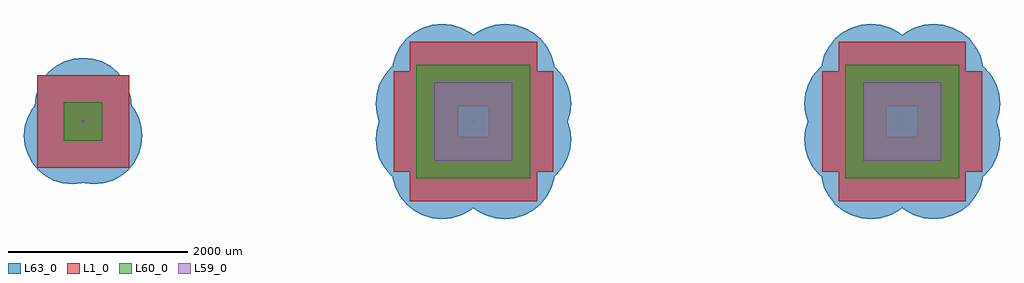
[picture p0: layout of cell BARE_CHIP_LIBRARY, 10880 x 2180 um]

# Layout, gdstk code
import gdstk
lib = gdstk.Library(unit=1e-6, precision=1e-09)
def R(c, l, rs):  # rectangles x0, y0, x1, y1
    for r in rs: c.add(gdstk.rectangle(r[:2], r[2:], *l))
def P(c, l, *ps):  # polygons
    for p in ps: c.add(gdstk.Polygon(p, *l))
L1_0 = (1, 0)
L59_0 = (59, 0)
L60_0 = (60, 0)
L63_0 = (63, 0)

die_2n2222 = lib.new_cell('DIE_2N2222')
R(die_2n2222, L1_0, [(-515,-515,515,515), (-460,-500,220,180), (-220,-500,460,180), (-340,-170,340,510)])
R(die_2n2222, L59_0, [(-15,-15,15,15)])
R(die_2n2222, L60_0, [(-215,-215,215,215)])
R(die_2n2222, L63_0, [(-515,-515,515,515), (-460,-500,220,180), (-220,-500,460,180), (-340,-170,340,510)])
P(die_2n2222, L63_0, [(0,-370),(-105.349,-359.624),(-206.649,-328.895),(-300.008,-278.994),(-381.838,-211.838),(-448.994,-130.008),(-498.895,-36.649),(-529.624,64.651),(-540,170),(-529.624,275.349),(-498.895,376.649),(-448.994,470.008),(-381.838,551.838),(-300.008,618.994),(-206.649,668.895),(-105.349,699.624),(0,710),(105.349,699.624),(206.649,668.895),(300.008,618.994),(381.838,551.838),(448.994,470.008),(498.895,376.649),(529.624,275.349),(540,170),(529.624,64.651),(498.895,-36.649),(448.994,-130.008),(381.838,-211.838),(300.008,-278.994),(206.649,-328.895),(105.349,-359.624)],
  [(-120,-700),(-225.349,-689.624),(-326.649,-658.895),(-420.008,-608.994),(-501.838,-541.838),(-568.994,-460.008),(-618.895,-366.649),(-649.624,-265.349),(-660,-160),(-649.624,-54.651),(-618.895,46.649),(-568.994,140.008),(-501.838,221.838),(-420.008,288.994),(-326.649,338.895),(-225.349,369.624),(-120,380),(-14.651,369.624),(86.649,338.895),(180.008,288.994),(261.838,221.838),(328.994,140.008),(378.895,46.649),(409.624,-54.651),(420,-160),(409.624,-265.349),(378.895,-366.649),(328.994,-460.008),(261.838,-541.838),(180.008,-608.994),(86.649,-658.895),(-14.651,-689.624)],
  [(120,-700),(14.651,-689.624),(-86.649,-658.895),(-180.008,-608.994),(-261.838,-541.838),(-328.994,-460.008),(-378.895,-366.649),(-409.624,-265.349),(-420,-160),(-409.624,-54.651),(-378.895,46.649),(-328.994,140.008),(-261.838,221.838),(-180.008,288.994),(-86.649,338.895),(14.651,369.624),(120,380),(225.349,369.624),(326.649,338.895),(420.008,288.994),(501.838,221.838),(568.994,140.008),(618.895,46.649),(649.624,-54.651),(660,-160),(649.624,-265.349),(618.895,-366.649),(568.994,-460.008),(501.838,-541.838),(420.008,-608.994),(326.649,-658.895),(225.349,-689.624)],
  [(-340,-170),(-340,136),(-34,-170)])
die_2n2222.add(gdstk.Label('C (back)', (0,0), layer=63, texttype=0))
die_2n2222.add(gdstk.Label('1', (0,170), layer=63, texttype=0))
die_2n2222.add(gdstk.Label('B', (0,-320), layer=63, texttype=0))
die_2n2222.add(gdstk.Label('2', (-120,-160), layer=63, texttype=0))
die_2n2222.add(gdstk.Label('E', (-120,-650), layer=63, texttype=0))
die_2n2222.add(gdstk.Label('3', (120,-160), layer=63, texttype=0))
die_2n2222.add(gdstk.Label('E', (120,-650), layer=63, texttype=0))
die_2n2222.add(gdstk.Label('DIE_2N2222', (0,810), layer=63, texttype=0))
die_2n2222.add(gdstk.Label('2N2222 NPN BJT bare die  430Ã\x97430um', (0,-900), layer=63, texttype=0))

die_lm741 = lib.new_cell('DIE_LM741')
R(die_lm741, L1_0, [(-710,-890,10,-170), (-10,-890,710,-170), (-890,-560,-170,160), (170,-560,890,160), (-890,-160,-170,560), (170,-160,890,560), (-710,170,10,890), (-10,170,710,890)])
R(die_lm741, L59_0, [(-435,-435,435,435)])
R(die_lm741, L60_0, [(-635,-635,635,635)])
R(die_lm741, L63_0, [(-710,-890,10,-170), (-10,-890,710,-170), (-890,-560,-170,160), (170,-560,890,160), (-890,-160,-170,560), (170,-160,890,560), (-710,170,10,890), (-10,170,710,890)])
P(die_lm741, L63_0, [(-350,-1090),(-459.251,-1079.24),(-564.303,-1047.373),(-661.119,-995.623),(-745.98,-925.98),(-815.623,-841.119),(-867.373,-744.303),(-899.24,-639.251),(-910,-530),(-899.24,-420.749),(-867.373,-315.697),(-815.623,-218.881),(-745.98,-134.02),(-661.119,-64.377),(-564.303,-12.627),(-459.251,19.24),(-350,30),(-240.749,19.24),(-135.697,-12.627),(-38.881,-64.377),(45.98,-134.02),(115.623,-218.881),(167.373,-315.697),(199.24,-420.749),(210,-530),(199.24,-639.251),(167.373,-744.303),(115.623,-841.119),(45.98,-925.98),(-38.881,-995.623),(-135.697,-1047.373),(-240.749,-1079.24)],
  [(350,-1090),(240.749,-1079.24),(135.697,-1047.373),(38.881,-995.623),(-45.98,-925.98),(-115.623,-841.119),(-167.373,-744.303),(-199.24,-639.251),(-210,-530),(-199.24,-420.749),(-167.373,-315.697),(-115.623,-218.881),(-45.98,-134.02),(38.881,-64.377),(135.697,-12.627),(240.749,19.24),(350,30),(459.251,19.24),(564.303,-12.627),(661.119,-64.377),(745.98,-134.02),(815.623,-218.881),(867.373,-315.697),(899.24,-420.749),(910,-530),(899.24,-639.251),(867.373,-744.303),(815.623,-841.119),(745.98,-925.98),(661.119,-995.623),(564.303,-1047.373),(459.251,-1079.24)],
  [(530,-760),(420.749,-749.24),(315.697,-717.373),(218.881,-665.623),(134.02,-595.98),(64.377,-511.119),(12.627,-414.303),(-19.24,-309.251),(-30,-200),(-19.24,-90.749),(12.627,14.303),(64.377,111.119),(134.02,195.98),(218.881,265.623),(315.697,317.373),(420.749,349.24),(530,360),(639.251,349.24),(744.303,317.373),(841.119,265.623),(925.98,195.98),(995.623,111.119),(1047.373,14.303),(1079.24,-90.749),(1090,-200),(1079.24,-309.251),(1047.373,-414.303),(995.623,-511.119),(925.98,-595.98),(841.119,-665.623),(744.303,-717.373),(639.251,-749.24)],
  [(530,-360),(420.749,-349.24),(315.697,-317.373),(218.881,-265.623),(134.02,-195.98),(64.377,-111.119),(12.627,-14.303),(-19.24,90.749),(-30,200),(-19.24,309.251),(12.627,414.303),(64.377,511.119),(134.02,595.98),(218.881,665.623),(315.697,717.373),(420.749,749.24),(530,760),(639.251,749.24),(744.303,717.373),(841.119,665.623),(925.98,595.98),(995.623,511.119),(1047.373,414.303),(1079.24,309.251),(1090,200),(1079.24,90.749),(1047.373,-14.303),(995.623,-111.119),(925.98,-195.98),(841.119,-265.623),(744.303,-317.373),(639.251,-349.24)],
  [(350,-30),(240.749,-19.24),(135.697,12.627),(38.881,64.377),(-45.98,134.02),(-115.623,218.881),(-167.373,315.697),(-199.24,420.749),(-210,530),(-199.24,639.251),(-167.373,744.303),(-115.623,841.119),(-45.98,925.98),(38.881,995.623),(135.697,1047.373),(240.749,1079.24),(350,1090),(459.251,1079.24),(564.303,1047.373),(661.119,995.623),(745.98,925.98),(815.623,841.119),(867.373,744.303),(899.24,639.251),(910,530),(899.24,420.749),(867.373,315.697),(815.623,218.881),(745.98,134.02),(661.119,64.377),(564.303,12.627),(459.251,-19.24)],
  [(-350,-30),(-459.251,-19.24),(-564.303,12.627),(-661.119,64.377),(-745.98,134.02),(-815.623,218.881),(-867.373,315.697),(-899.24,420.749),(-910,530),(-899.24,639.251),(-867.373,744.303),(-815.623,841.119),(-745.98,925.98),(-661.119,995.623),(-564.303,1047.373),(-459.251,1079.24),(-350,1090),(-240.749,1079.24),(-135.697,1047.373),(-38.881,995.623),(45.98,925.98),(115.623,841.119),(167.373,744.303),(199.24,639.251),(210,530),(199.24,420.749),(167.373,315.697),(115.623,218.881),(45.98,134.02),(-38.881,64.377),(-135.697,12.627),(-240.749,-19.24)],
  [(-530,-360),(-639.251,-349.24),(-744.303,-317.373),(-841.119,-265.623),(-925.98,-195.98),(-995.623,-111.119),(-1047.373,-14.303),(-1079.24,90.749),(-1090,200),(-1079.24,309.251),(-1047.373,414.303),(-995.623,511.119),(-925.98,595.98),(-841.119,665.623),(-744.303,717.373),(-639.251,749.24),(-530,760),(-420.749,749.24),(-315.697,717.373),(-218.881,665.623),(-134.02,595.98),(-64.377,511.119),(-12.627,414.303),(19.24,309.251),(30,200),(19.24,90.749),(-12.627,-14.303),(-64.377,-111.119),(-134.02,-195.98),(-218.881,-265.623),(-315.697,-317.373),(-420.749,-349.24)],
  [(-530,-760),(-639.251,-749.24),(-744.303,-717.373),(-841.119,-665.623),(-925.98,-595.98),(-995.623,-511.119),(-1047.373,-414.303),(-1079.24,-309.251),(-1090,-200),(-1079.24,-90.749),(-1047.373,14.303),(-995.623,111.119),(-925.98,195.98),(-841.119,265.623),(-744.303,317.373),(-639.251,349.24),(-530,360),(-420.749,349.24),(-315.697,317.373),(-218.881,265.623),(-134.02,195.98),(-64.377,111.119),(-12.627,14.303),(19.24,-90.749),(30,-200),(19.24,-309.251),(-12.627,-414.303),(-64.377,-511.119),(-134.02,-595.98),(-218.881,-665.623),(-315.697,-717.373),(-420.749,-749.24)],
  [(-710,-890),(-710,-566),(-386,-890)])
die_lm741.add(gdstk.Label('1', (-350,-530), layer=63, texttype=0))
die_lm741.add(gdstk.Label('NULL1', (-350,-1040), layer=63, texttype=0))
die_lm741.add(gdstk.Label('2', (350,-530), layer=63, texttype=0))
die_lm741.add(gdstk.Label('IN-', (350,-1040), layer=63, texttype=0))
die_lm741.add(gdstk.Label('3', (530,-200), layer=63, texttype=0))
die_lm741.add(gdstk.Label('IN+', (530,-710), layer=63, texttype=0))
die_lm741.add(gdstk.Label('4', (530,200), layer=63, texttype=0))
die_lm741.add(gdstk.Label('V-', (530,-310), layer=63, texttype=0))
die_lm741.add(gdstk.Label('5', (350,530), layer=63, texttype=0))
die_lm741.add(gdstk.Label('NULL2', (350,20), layer=63, texttype=0))
die_lm741.add(gdstk.Label('6', (-350,530), layer=63, texttype=0))
die_lm741.add(gdstk.Label('OUT', (-350,20), layer=63, texttype=0))
die_lm741.add(gdstk.Label('7', (-530,200), layer=63, texttype=0))
die_lm741.add(gdstk.Label('V+', (-530,-310), layer=63, texttype=0))
die_lm741.add(gdstk.Label('8', (-530,-200), layer=63, texttype=0))
die_lm741.add(gdstk.Label('NC', (-530,-710), layer=63, texttype=0))
die_lm741.add(gdstk.Label('DIE_LM741', (0,1190), layer=63, texttype=0))
die_lm741.add(gdstk.Label('LM741 op-amp bare die  1270Ã\x971270um  8 bond pads', (0,-1290), layer=63, texttype=0))

die_lm301 = lib.new_cell('DIE_LM301')
R(die_lm301, L1_0, [(-710,-890,10,-170), (-10,-890,710,-170), (-890,-560,-170,160), (170,-560,890,160), (-890,-160,-170,560), (170,-160,890,560), (-710,170,10,890), (-10,170,710,890)])
R(die_lm301, L59_0, [(-435,-435,435,435)])
R(die_lm301, L60_0, [(-635,-635,635,635)])
R(die_lm301, L63_0, [(-710,-890,10,-170), (-10,-890,710,-170), (-890,-560,-170,160), (170,-560,890,160), (-890,-160,-170,560), (170,-160,890,560), (-710,170,10,890), (-10,170,710,890)])
P(die_lm301, L63_0, [(-350,-1090),(-459.251,-1079.24),(-564.303,-1047.373),(-661.119,-995.623),(-745.98,-925.98),(-815.623,-841.119),(-867.373,-744.303),(-899.24,-639.251),(-910,-530),(-899.24,-420.749),(-867.373,-315.697),(-815.623,-218.881),(-745.98,-134.02),(-661.119,-64.377),(-564.303,-12.627),(-459.251,19.24),(-350,30),(-240.749,19.24),(-135.697,-12.627),(-38.881,-64.377),(45.98,-134.02),(115.623,-218.881),(167.373,-315.697),(199.24,-420.749),(210,-530),(199.24,-639.251),(167.373,-744.303),(115.623,-841.119),(45.98,-925.98),(-38.881,-995.623),(-135.697,-1047.373),(-240.749,-1079.24)],
  [(350,-1090),(240.749,-1079.24),(135.697,-1047.373),(38.881,-995.623),(-45.98,-925.98),(-115.623,-841.119),(-167.373,-744.303),(-199.24,-639.251),(-210,-530),(-199.24,-420.749),(-167.373,-315.697),(-115.623,-218.881),(-45.98,-134.02),(38.881,-64.377),(135.697,-12.627),(240.749,19.24),(350,30),(459.251,19.24),(564.303,-12.627),(661.119,-64.377),(745.98,-134.02),(815.623,-218.881),(867.373,-315.697),(899.24,-420.749),(910,-530),(899.24,-639.251),(867.373,-744.303),(815.623,-841.119),(745.98,-925.98),(661.119,-995.623),(564.303,-1047.373),(459.251,-1079.24)],
  [(530,-760),(420.749,-749.24),(315.697,-717.373),(218.881,-665.623),(134.02,-595.98),(64.377,-511.119),(12.627,-414.303),(-19.24,-309.251),(-30,-200),(-19.24,-90.749),(12.627,14.303),(64.377,111.119),(134.02,195.98),(218.881,265.623),(315.697,317.373),(420.749,349.24),(530,360),(639.251,349.24),(744.303,317.373),(841.119,265.623),(925.98,195.98),(995.623,111.119),(1047.373,14.303),(1079.24,-90.749),(1090,-200),(1079.24,-309.251),(1047.373,-414.303),(995.623,-511.119),(925.98,-595.98),(841.119,-665.623),(744.303,-717.373),(639.251,-749.24)],
  [(530,-360),(420.749,-349.24),(315.697,-317.373),(218.881,-265.623),(134.02,-195.98),(64.377,-111.119),(12.627,-14.303),(-19.24,90.749),(-30,200),(-19.24,309.251),(12.627,414.303),(64.377,511.119),(134.02,595.98),(218.881,665.623),(315.697,717.373),(420.749,749.24),(530,760),(639.251,749.24),(744.303,717.373),(841.119,665.623),(925.98,595.98),(995.623,511.119),(1047.373,414.303),(1079.24,309.251),(1090,200),(1079.24,90.749),(1047.373,-14.303),(995.623,-111.119),(925.98,-195.98),(841.119,-265.623),(744.303,-317.373),(639.251,-349.24)],
  [(350,-30),(240.749,-19.24),(135.697,12.627),(38.881,64.377),(-45.98,134.02),(-115.623,218.881),(-167.373,315.697),(-199.24,420.749),(-210,530),(-199.24,639.251),(-167.373,744.303),(-115.623,841.119),(-45.98,925.98),(38.881,995.623),(135.697,1047.373),(240.749,1079.24),(350,1090),(459.251,1079.24),(564.303,1047.373),(661.119,995.623),(745.98,925.98),(815.623,841.119),(867.373,744.303),(899.24,639.251),(910,530),(899.24,420.749),(867.373,315.697),(815.623,218.881),(745.98,134.02),(661.119,64.377),(564.303,12.627),(459.251,-19.24)],
  [(-350,-30),(-459.251,-19.24),(-564.303,12.627),(-661.119,64.377),(-745.98,134.02),(-815.623,218.881),(-867.373,315.697),(-899.24,420.749),(-910,530),(-899.24,639.251),(-867.373,744.303),(-815.623,841.119),(-745.98,925.98),(-661.119,995.623),(-564.303,1047.373),(-459.251,1079.24),(-350,1090),(-240.749,1079.24),(-135.697,1047.373),(-38.881,995.623),(45.98,925.98),(115.623,841.119),(167.373,744.303),(199.24,639.251),(210,530),(199.24,420.749),(167.373,315.697),(115.623,218.881),(45.98,134.02),(-38.881,64.377),(-135.697,12.627),(-240.749,-19.24)],
  [(-530,-360),(-639.251,-349.24),(-744.303,-317.373),(-841.119,-265.623),(-925.98,-195.98),(-995.623,-111.119),(-1047.373,-14.303),(-1079.24,90.749),(-1090,200),(-1079.24,309.251),(-1047.373,414.303),(-995.623,511.119),(-925.98,595.98),(-841.119,665.623),(-744.303,717.373),(-639.251,749.24),(-530,760),(-420.749,749.24),(-315.697,717.373),(-218.881,665.623),(-134.02,595.98),(-64.377,511.119),(-12.627,414.303),(19.24,309.251),(30,200),(19.24,90.749),(-12.627,-14.303),(-64.377,-111.119),(-134.02,-195.98),(-218.881,-265.623),(-315.697,-317.373),(-420.749,-349.24)],
  [(-530,-760),(-639.251,-749.24),(-744.303,-717.373),(-841.119,-665.623),(-925.98,-595.98),(-995.623,-511.119),(-1047.373,-414.303),(-1079.24,-309.251),(-1090,-200),(-1079.24,-90.749),(-1047.373,14.303),(-995.623,111.119),(-925.98,195.98),(-841.119,265.623),(-744.303,317.373),(-639.251,349.24),(-530,360),(-420.749,349.24),(-315.697,317.373),(-218.881,265.623),(-134.02,195.98),(-64.377,111.119),(-12.627,14.303),(19.24,-90.749),(30,-200),(19.24,-309.251),(-12.627,-414.303),(-64.377,-511.119),(-134.02,-595.98),(-218.881,-665.623),(-315.697,-717.373),(-420.749,-749.24)],
  [(-710,-890),(-710,-566),(-386,-890)])
die_lm301.add(gdstk.Label('1', (-350,-530), layer=63, texttype=0))
die_lm301.add(gdstk.Label('COMP', (-350,-1040), layer=63, texttype=0))
die_lm301.add(gdstk.Label('2', (350,-530), layer=63, texttype=0))
die_lm301.add(gdstk.Label('IN-', (350,-1040), layer=63, texttype=0))
die_lm301.add(gdstk.Label('3', (530,-200), layer=63, texttype=0))
die_lm301.add(gdstk.Label('IN+', (530,-710), layer=63, texttype=0))
die_lm301.add(gdstk.Label('4', (530,200), layer=63, texttype=0))
die_lm301.add(gdstk.Label('V-', (530,-310), layer=63, texttype=0))
die_lm301.add(gdstk.Label('5', (350,530), layer=63, texttype=0))
die_lm301.add(gdstk.Label('BAL', (350,20), layer=63, texttype=0))
die_lm301.add(gdstk.Label('6', (-350,530), layer=63, texttype=0))
die_lm301.add(gdstk.Label('OUT', (-350,20), layer=63, texttype=0))
die_lm301.add(gdstk.Label('7', (-530,200), layer=63, texttype=0))
die_lm301.add(gdstk.Label('V+', (-530,-310), layer=63, texttype=0))
die_lm301.add(gdstk.Label('8', (-530,-200), layer=63, texttype=0))
die_lm301.add(gdstk.Label('NC', (-530,-710), layer=63, texttype=0))
die_lm301.add(gdstk.Label('DIE_LM301', (0,1190), layer=63, texttype=0))
die_lm301.add(gdstk.Label('LM301 op-amp bare die  1270Ã\x971270um  8 bond pads', (0,-1290), layer=63, texttype=0))

bare_chip_library = lib.new_cell('BARE_CHIP_LIBRARY')
bare_chip_library.add(gdstk.Reference(die_2n2222, (460,0)))
bare_chip_library.add(gdstk.Reference(die_lm741, (4810,0)))
bare_chip_library.add(gdstk.Reference(die_lm301, (9590,0)))

lib.write_gds('BARE_CHIP_LIBRARY.gds')
